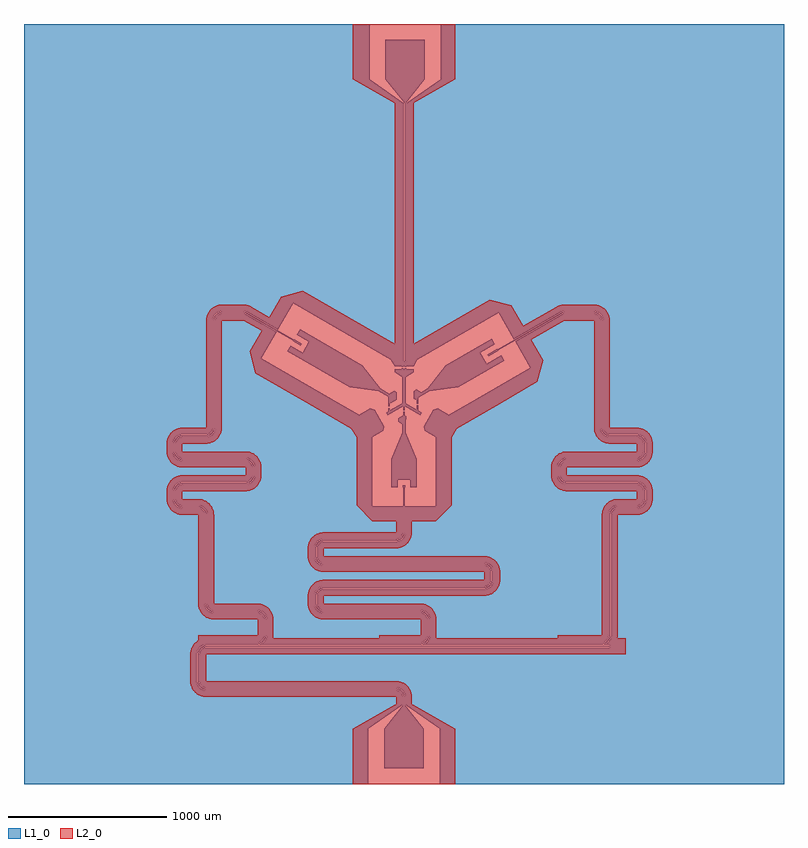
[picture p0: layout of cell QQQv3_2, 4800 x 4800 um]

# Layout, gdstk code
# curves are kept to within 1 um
import gdstk
lib = gdstk.Library(unit=1e-6, precision=1e-09)
def P(c, l, *ps):  # polygons
    for p in ps: c.add(gdstk.Polygon(p, *l))
L1_0 = (1, 0)
L2_0 = (2, 0)

qqqv3_2 = lib.new_cell('QQQv3_2')
P(qqqv3_2, L1_0, [(3.5,1900),(-117.5,2050),(-117.5,2300),(132.5,2300),(132.5,2050),(11.5,1900)],
  [(-125,-2300),(-125,-2050),(-4,-1900),(4,-1900),(125,-2050),(125,-2300)],
  [(1246,57.013),(1245.804,531.595),(1242.894,543.967),(1236.709,555.071),(1227.721,564.059),(1216.617,570.244),(1200,573.35),(1013.397,573.35),(997.665,570.576),(595.227,339.036),(596.727,336.438),(533.941,300.188),(526.941,312.312),(589.727,348.562),(591.227,345.964),(994.928,578.094),(1013.397,581.35),(1200,581.35),(1217.534,578.424),(1233.167,569.964),(1242.614,560.518),(1249.452,549.042),(1253.816,531.81),(1254,57.013)],
  [(977.66,-467.325),(974.986,-454.404),(974.806,-400),(977.732,-382.466),(983.599,-370.465),(992.232,-360.271),(1003.105,-352.508),(1015.549,-347.652),(1028.806,-346),(1475.439,-345.804),(1487.811,-342.894),(1498.916,-336.709),(1505.189,-330.99),(1512.372,-320.504),(1516.998,-304.244),(1516.411,-241.548),(1512.372,-229.496),(1507.903,-222.279),(1498.916,-213.291),(1491.698,-208.822),(1479.647,-204.783),(1471.194,-204),(1295.541,-203.816),(1286.744,-202.348),(1274.299,-197.492),(1263.427,-189.729),(1254.793,-179.535),(1247.652,-163.256),(1246,-150),(1246,57.013),(1254,57.013),(1254.196,-154.244),(1258.822,-170.504),(1266.006,-180.99),(1279.496,-191.178),(1295.756,-195.804),(1480.082,-196.736),(1492.886,-200.548),(1504.362,-207.386),(1513.808,-216.833),(1520.646,-228.308),(1524.458,-241.112),(1525.194,-250),(1525.194,-300),(1523.542,-313.256),(1520.646,-321.692),(1513.808,-333.167),(1504.362,-342.614),(1492.886,-349.452),(1484.451,-352.348),(1471.194,-354),(1020.353,-354.783),(1008.302,-358.822),(1001.084,-363.291),(992.097,-372.279),(985.912,-383.383),(983.002,-395.756),(982.806,-450),(983.66,-458.826),(986.193,-467.325)],
  [(-1242,-1200),(-1242,-700),(-1245.143,-681.167),(-1251.444,-668.277),(-1260.718,-657.328),(-1272.395,-648.991),(-1285.762,-643.775),(-1300,-642),(-1399.681,-642),(-1415.754,-638.803),(-1426.326,-632.466),(-1434.603,-623.334),(-1439.873,-612.192),(-1441.681,-600),(-200,-600),(-200,-647),(-8,-647),(-8.202,-815.117),(-11.197,-827.073),(-17.534,-837.645),(-30.201,-848.041),(-41.806,-852.193),(-50,-853),(-507.195,-853),(-526.028,-856.143),(-542.82,-865.23),(-552.965,-875.376),(-562.053,-892.167),(-564.997,-906.21),(-565.195,-961),(-563.42,-975.238),(-555.751,-992.723),(-546.478,-1003.672),(-538.918,-1009.556),(-521.433,-1017.225),(-507.195,-1019),(507.195,-1019),(523.268,-1022.197),(533.84,-1028.534),(544.236,-1041.201),(548.993,-1056.883),(549.195,-1111),(545.998,-1127.073),(539.662,-1137.645),(530.529,-1145.922),(523.268,-1149.803),(511.312,-1152.798),(-507.195,-1153),(-525.699,-1156.031),(-542.269,-1164.806),(-552.372,-1174.626),(-557.658,-1182.407),(-564.143,-1200)],
  [(-515.549,-1014.35),(-532.531,-1008.687),(-546.73,-997.784),(-556.583,-982.837),(-561.008,-965.491),(-561.195,-911),(-558.269,-893.466),(-554.687,-885.299),(-546.924,-874.427),(-536.73,-865.793),(-524.729,-859.926),(-507.195,-857),(-50,-857),(-41.548,-856.217),(-33.383,-853.894),(-25.784,-850.11),(-19.01,-844.994),(-13.291,-838.721),(-8.822,-831.504),(-4.783,-819.452),(-4,-811),(-4,-527),(-7,-527),(-7,-512.7),(7,-512.7),(7,-527),(4,-527),(4,-811),(3.264,-819.888),(-0.548,-832.692),(-7.386,-844.167),(-13.427,-850.729),(-28.308,-860.452),(-41.112,-864.264),(-50,-865),(-507.195,-865),(-519.784,-866.756),(-531.411,-871.89),(-541.19,-880.01),(-548.373,-890.496),(-552.412,-902.548),(-553.195,-911),(-552.412,-969.452),(-548.373,-981.504),(-543.904,-988.721),(-538.185,-994.994),(-531.411,-1000.11),(-523.812,-1003.894),(-515.648,-1006.217),(-507.195,-1007),(507.195,-1007),(521.283,-1008.87),(534.394,-1014.35)],
  [(-2400,-1200),(-2400,0),(-1208,0),(-1208,-150),(-1209.809,-162.192),(-1215.078,-173.334),(-1223.355,-182.466),(-1230.201,-187.041),(-1245.883,-191.798),(-1404.471,-192.198),(-1418.514,-195.143),(-1431.404,-201.444),(-1438.963,-207.328),(-1448.237,-218.277),(-1452.796,-226.702),(-1456.89,-240.454),(-1457.483,-304.79),(-1455.906,-314.238),(-1450.691,-327.605),(-1442.353,-339.282),(-1431.404,-348.556),(-1418.514,-354.857),(-1404.471,-357.802),(-992.125,-358.807),(-980.52,-362.959),(-973.674,-367.534),(-967.852,-373.355),(-961.516,-383.927),(-958.319,-400),(-958.319,-450),(-960.127,-462.192),(-967.852,-476.645),(-980.52,-487.041),(-992.125,-491.193),(-1404.471,-492.198),(-1418.514,-495.143),(-1431.404,-501.444),(-1442.353,-510.718),(-1452.796,-526.702),(-1457.483,-545.21),(-1456.89,-609.546),(-1450.691,-627.605),(-1442.353,-639.282),(-1435.305,-645.77),(-1422.979,-653.115),(-1404.471,-657.802),(-1291.806,-658.807),(-1280.201,-662.959),(-1273.355,-667.534),(-1265.078,-676.666),(-1259.809,-687.808),(-1258,-700),(-1258,-1200)],
  [(1296,-991.662),(1296,-700),(1296.736,-691.112),(1300.548,-678.308),(1307.386,-666.833),(1316.833,-657.386),(1328.308,-650.548),(1341.112,-646.736),(1475.439,-645.804),(1487.811,-642.894),(1498.916,-636.709),(1505.189,-630.99),(1512.372,-620.504),(1516.998,-604.244),(1516.998,-545.756),(1514.088,-533.383),(1510.304,-525.784),(1502.184,-516.006),(1491.698,-508.822),(1479.647,-504.783),(1471.194,-504),(1024.332,-503.814),(1011.216,-501.055),(995.545,-492.541),(983.502,-479.387),(977.66,-467.325),(986.193,-467.325),(995.169,-481.378),(1004.889,-489.294),(1016.386,-494.292),(1024.62,-495.809),(1475.654,-496.184),(1488.728,-498.926),(1500.73,-504.793),(1507.768,-510.271),(1516.401,-520.465),(1522.268,-532.466),(1525.01,-545.541),(1525.01,-604.459),(1523.542,-613.256),(1518.686,-625.701),(1513.808,-633.167),(1504.362,-642.614),(1492.886,-649.452),(1475.654,-653.816),(1341.548,-654.783),(1329.496,-658.822),(1322.279,-663.291),(1313.291,-672.279),(1308.822,-679.496),(1304.783,-691.548),(1304,-700),(1304,-991.662)],
  [(-547.729,-1200),(-543.115,-1189.233),(-532.71,-1177.638),(-522.504,-1171.889),(-507.195,-1169),(507.195,-1169),(516.742,-1168.209),(530.494,-1164.115),(546.478,-1153.672),(558.205,-1138.605),(564.404,-1120.546),(564.404,-1051.454),(558.205,-1033.395),(546.478,-1018.328),(530.494,-1007.885),(516.742,-1003.791),(-507.195,-1003),(-523.268,-999.803),(-536.894,-990.698),(-544.236,-980.799),(-548.993,-965.117),(-548.993,-906.883),(-545.998,-894.927),(-539.662,-884.355),(-530.529,-876.078),(-519.387,-870.809),(-507.195,-869),(-50,-869),(-35.762,-867.225),(-18.277,-859.556),(-10.718,-853.672),(-1.444,-842.723),(4.857,-829.833),(7.802,-815.79),(8,-647),(200,-647),(200,-600),(1513.194,-600),(1511.386,-612.192),(1506.116,-623.334),(1497.839,-632.466),(1487.267,-638.803),(1471.194,-642),(1350,-642),(1335.762,-643.775),(1322.395,-648.991),(1310.718,-657.328),(1301.444,-668.277),(1295.143,-681.167),(1292,-700),(1292,-1200)],
  [(-2400,-2400),(-2400,-1800),(-1279.394,-1800),(-1267.345,-1805.346),(-1250,-1808),(-50,-1808),(-33.927,-1811.197),(-23.355,-1817.534),(-12.959,-1830.201),(-8.807,-1841.806),(-8,-1900),(-225,-2050),(-225,-2400)],
  [(148.818,-1500),(158.491,-1484.42),(162.817,-1466.599),(162.802,-1356.21),(159.857,-1342.167),(153.556,-1329.277),(144.282,-1318.328),(128.298,-1307.885),(114.546,-1303.791),(105,-1303),(-515.389,-1302.193),(-526.994,-1298.041),(-533.84,-1293.466),(-542.117,-1284.334),(-547.387,-1273.192),(-549.195,-1261),(-549.195,-1211),(-547.729,-1200),(1292,-1200),(1291.814,-1465.952),(1289.051,-1477.459),(1283.189,-1487.739),(1274.691,-1495.976),(1267.889,-1500)],
  [(80.311,2.141),(80.311,31.368),(72.99,27.141),(60,34.641),(60,81.641),(77.321,91.641),(108.024,73.915),(150.885,98.66),(263.109,244.282),(553.227,411.782),(573.227,377.141),(481.862,324.391),(521.862,255.109),(613.227,307.859),(633.227,273.218),(343.109,105.718),(160.885,81.34),(90.311,40.594),(90.311,2.141)],
  [(-881.182,-1500),(-871.509,-1484.42),(-867.183,-1466.599),(-867.198,-1356.21),(-870.143,-1342.167),(-873.991,-1333.395),(-882.328,-1321.718),(-889.376,-1315.23),(-901.702,-1307.885),(-920.21,-1303.198),(-1200,-1303),(-1212.192,-1301.191),(-1219.799,-1298.041),(-1229.698,-1290.698),(-1237.041,-1280.799),(-1240.191,-1273.192),(-1242,-1261),(-1242,-1200),(-564.143,-1200),(-565.195,-1261),(-562.053,-1279.833),(-555.751,-1292.723),(-546.478,-1303.672),(-534.8,-1312.009),(-521.433,-1317.225),(-507.195,-1319),(109.117,-1319.202),(124.799,-1323.959),(134.698,-1331.302),(142.041,-1341.201),(146.798,-1356.883),(146.256,-1469.869),(144.051,-1477.459),(138.189,-1487.739),(129.691,-1495.976),(122.889,-1500)],
  [(-2400,-1800),(-2400,-1500),(-907.111,-1500),(-925,-1504),(-1250,-1504),(-1250,-1520),(-920.489,-1519.824),(-911.576,-1518.425),(-898.882,-1513.786),(-891.167,-1509.11),(-881.182,-1500),(122.889,-1500),(105,-1504),(-105,-1504),(-105,-1520),(109.511,-1519.824),(118.424,-1518.425),(131.118,-1513.786),(138.833,-1509.11),(148.818,-1500),(1267.889,-1500),(1250,-1504),(1020,-1504),(1020,-1520),(1254.511,-1519.824),(1263.424,-1518.425),(1276.118,-1513.786),(1283.833,-1509.11),(1293.818,-1500),(2400,-1500),(2400,-1800),(-20.606,-1800),(-32.655,-1794.654),(-50,-1792),(-1250,-1792),(-1262.192,-1790.191),(-1273.334,-1784.922),(-1282.466,-1776.645),(-1288.803,-1766.073),(-1291.798,-1754.117),(-1292,-1580),(-1288.803,-1563.927),(-1282.466,-1553.355),(-1269.799,-1542.959),(-1254.117,-1538.202),(1300,-1538),(1300,-1522),(-1254.79,-1522.198),(-1273.298,-1526.885),(-1289.282,-1537.328),(-1298.556,-1548.277),(-1303.115,-1556.702),(-1307.802,-1575.21),(-1307.26,-1759.235),(-1303.427,-1772.573),(-1296.536,-1784.618),(-1286.98,-1794.682),(-1279.394,-1800)],
  [(225,-2400),(225,-2050),(8,-1900),(8,-1850),(6.34,-1836.222),(1.454,-1823.233),(-3.464,-1815.382),(-13.02,-1805.318),(-20.606,-1800),(2400,-1800),(2400,-2400)],
  [(1293.818,-1500),(1303.491,-1484.42),(1307.817,-1466.599),(1308,-1200),(2400,-1200),(2400,-1500)],
  [(-1204,57.013),(-1203.816,531.81),(-1201.074,544.884),(-1195.207,556.885),(-1186.573,567.079),(-1175.701,574.842),(-1163.256,579.698),(-1150,581.35),(-1013.397,581.35),(-1004.02,580.53),(-994.928,578.094),(-694.284,405.464),(-692.784,408.062),(-645.153,380.562),(-652.153,368.438),(-699.784,395.938),(-698.284,398.536),(-997.665,570.576),(-1013.397,573.35),(-1150,573.35),(-1162.588,571.594),(-1174.216,566.46),(-1180.99,561.345),(-1189.11,551.566),(-1192.894,543.967),(-1195.804,531.595),(-1196,57.013)],
  [(-1441.681,-600),(-1441.681,-550),(-1439.873,-537.808),(-1436.722,-530.201),(-1429.38,-520.302),(-1419.48,-512.959),(-1411.873,-509.809),(-1399.681,-508),(-995.529,-507.802),(-981.486,-504.857),(-968.596,-498.556),(-957.647,-489.282),(-947.204,-473.298),(-943.11,-459.546),(-942.319,-450),(-942.319,-400),(-944.094,-385.762),(-949.309,-372.395),(-957.647,-360.718),(-968.596,-351.444),(-981.486,-345.143),(-1000.319,-342),(-1403.798,-341.798),(-1415.754,-338.803),(-1423.015,-334.922),(-1432.148,-326.645),(-1436.722,-319.799),(-1441.479,-304.117),(-1440.874,-241.806),(-1436.722,-230.201),(-1432.148,-223.355),(-1419.48,-212.959),(-1407.875,-208.807),(-1399.681,-208),(-1240.454,-207.209),(-1226.702,-203.115),(-1218.277,-198.556),(-1204.23,-185.624),(-1196.885,-173.298),(-1192.198,-154.79),(-1192,0),(-400,0),(-281.699,-68.301),(-212.417,-28.301),(-185.096,-35.622),(-123.397,-142.487),(-130.718,-169.808),(-200,-209.808),(-200,-600)],
  [(-103.253,-71.16),(-113.253,-53.84),(-99.56,-45.934),(-99.56,-25.519),(-89.56,-25.519),(-89.56,-40.16),(-10,5.774),(-10,170),(-60,200),(-60,220),(-15,220),(-15,225),(-5,225),(-5,220),(5,220),(5,225),(15,225),(15,220),(60,220),(60,200),(10,170),(10,5.774),(80.311,-34.821),(80.311,-7.859),(90.311,-7.859),(90.311,-40.594),(113.253,-53.84),(103.253,-71.16),(5,-14.434),(5,-40),(-5,-40),(-5,-14.434)],
  [(-80,-527),(-80,-350),(-10,-180),(-10,-126.509),(-37.239,-110.782),(-37.239,-90.782),(-5,-72.169),(-5,-50),(5,-50),(5,-72.169),(12.99,-76.782),(12.99,-96.782),(10,-98.509),(10,-180),(80,-350),(80,-527),(40,-527),(40,-479.7),(-40,-479.7),(-40,-527)],
  [(200,-600),(200,-209.808),(130.718,-169.808),(123.397,-142.487),(185.096,-35.622),(212.417,-28.301),(281.699,-68.301),(400,0),(1242,0),(1242.198,-154.79),(1246.885,-173.298),(1251.444,-181.723),(1260.718,-192.672),(1276.702,-203.115),(1295.21,-207.802),(1479.388,-208.807),(1490.993,-212.959),(1497.839,-217.534),(1506.116,-226.666),(1511.386,-237.808),(1513.194,-250),(1512.387,-308.194),(1508.235,-319.799),(1503.661,-326.645),(1494.528,-334.922),(1487.267,-338.803),(1471.194,-342),(1028.806,-342),(1014.568,-343.775),(1001.201,-348.991),(989.523,-357.328),(980.25,-368.277),(975.691,-376.702),(971.004,-395.21),(970.806,-450),(973.948,-468.833),(980.25,-481.723),(986.134,-489.282),(993.181,-495.77),(1005.507,-503.115),(1024.016,-507.802),(1471.194,-508),(1483.386,-509.809),(1490.993,-512.959),(1500.893,-520.302),(1508.235,-530.201),(1511.386,-537.808),(1513.194,-550),(1513.194,-600)],
  [(-1250,-1516),(-1250,-1508),(-925,-1508),(-908.383,-1504.894),(-897.279,-1498.709),(-888.291,-1489.721),(-883.822,-1482.504),(-879.783,-1470.452),(-879,-1361),(-882.106,-1344.383),(-888.291,-1333.279),(-900.784,-1321.89),(-916.548,-1315.783),(-1204.459,-1314.816),(-1221.692,-1310.452),(-1236.573,-1300.729),(-1242.614,-1294.167),(-1249.452,-1282.692),(-1253.816,-1265.459),(-1254,-991.662),(-1246,-991.662),(-1245.804,-1265.244),(-1241.178,-1281.504),(-1230.99,-1294.994),(-1216.617,-1303.894),(-1200,-1307),(-916.112,-1307.736),(-899.299,-1313.508),(-891.833,-1318.386),(-882.386,-1327.833),(-873.926,-1343.466),(-871,-1361),(-871,-1462),(-872.652,-1475.256),(-875.548,-1483.692),(-882.386,-1495.167),(-891.833,-1504.614),(-903.308,-1511.452),(-916.112,-1515.264),(-925,-1516)],
  [(1308,-1200),(1308,-700),(1309.809,-687.808),(1315.078,-676.666),(1323.355,-667.534),(1330.201,-662.959),(1341.806,-658.807),(1475.984,-657.802),(1494.493,-653.115),(1506.819,-645.77),(1513.866,-639.282),(1522.204,-627.605),(1528.403,-609.546),(1528.996,-545.21),(1524.309,-526.702),(1516.964,-514.376),(1506.819,-504.23),(1494.493,-496.885),(1475.984,-492.198),(1024.689,-491.798),(1009.007,-487.041),(996.339,-476.645),(988.614,-462.192),(986.806,-450),(986.806,-400),(990.003,-383.927),(996.339,-373.355),(1002.161,-367.534),(1009.007,-362.959),(1020.612,-358.807),(1475.984,-357.802),(1490.027,-354.857),(1502.917,-348.556),(1510.477,-342.672),(1519.75,-331.723),(1526.052,-318.833),(1528.996,-304.79),(1528.403,-240.454),(1526.052,-231.167),(1519.75,-218.277),(1510.477,-207.328),(1502.917,-201.444),(1490.027,-195.143),(1475.984,-192.198),(1295.883,-191.798),(1280.201,-187.041),(1267.534,-176.645),(1261.197,-166.073),(1258.202,-154.117),(1258,0),(2400,0),(2400,-1200)],
  [(400,0),(797.15,229.295),(701.15,395.572),(992.397,563.723),(1002.527,567.919),(1013.397,569.35),(1204.117,569.148),(1219.799,564.391),(1226.645,559.817),(1234.922,550.684),(1240.191,539.542),(1242,527.35),(1242,0)],
  [(-2400,0),(-2400,2400),(-217.5,2400),(-217.5,2050),(-0.5,1900),(-0.5,275),(3.75,250.6),(-6,250.6),(-6,248.6),(57.5,248.6),(57.5,250.6),(5.75,250.6),(3.5,275),(3.5,1900),(11.5,1900),(11.5,275),(9.25,254.1),(20,254.1),(20,256.1),(11.25,256.1),(15.5,275),(15.5,1900),(232.5,2050),(232.5,2400),(2400,2400),(2400,0),(1258,0),(1257.802,532.14),(1253.115,550.649),(1242.672,566.633),(1227.605,578.36),(1209.546,584.559),(1013.397,585.35),(996.302,582.773),(984.397,577.58),(693.15,409.428),(597.15,575.705),(83.484,279.139),(60,240),(15,240),(15,235),(5,235),(5,240),(-5,240),(-5,235),(-15,235),(-15,240),(-60,240),(-83.484,279.139),(-700.207,635.205),(-796.207,468.928),(-984.397,577.58),(-1000.491,583.896),(-1013.397,585.35),(-1154.79,585.152),(-1168.833,582.208),(-1177.605,578.36),(-1189.282,570.022),(-1195.77,562.975),(-1204.857,546.183),(-1208,527.35),(-1208,0)],
  [(-1192,0),(-1191.798,531.467),(-1187.041,547.149),(-1176.645,559.817),(-1162.192,567.542),(-1150,569.35),(-1013.397,569.35),(-999.033,566.817),(-804.207,455.072),(-900.207,288.795),(-400,0)],
  [(-2400,-1500),(-2400,-1200),(-1258,-1200),(-1258,-1261),(-1254.857,-1279.833),(-1248.556,-1292.723),(-1242.672,-1300.282),(-1231.723,-1309.556),(-1223.298,-1314.115),(-1209.546,-1318.209),(-1200,-1319),(-920.883,-1319.202),(-905.201,-1323.959),(-895.302,-1331.302),(-887.959,-1341.201),(-883.202,-1356.883),(-883.744,-1469.869),(-885.949,-1477.459),(-891.811,-1487.739),(-900.309,-1495.976),(-907.111,-1500)],
  [(-99.56,-15.519),(-99.56,45.934),(-160.885,81.34),(-343.109,105.718),(-736.284,332.718),(-716.284,367.359),(-640.074,323.359),(-600.074,392.641),(-676.284,436.641),(-656.284,471.282),(-263.109,244.282),(-150.885,98.66),(-93.024,65.254),(-62.321,82.981),(-45,72.981),(-45,25.981),(-82.239,4.481),(-89.56,8.707),(-89.56,-15.519)],
  [(-1254,-991.662),(-1254,-700),(-1257.106,-683.383),(-1263.291,-672.279),(-1272.279,-663.291),(-1279.496,-658.822),(-1291.548,-654.783),(-1404.14,-653.816),(-1421.373,-649.452),(-1432.849,-642.614),(-1442.295,-633.167),(-1447.173,-625.701),(-1452.029,-613.256),(-1453.497,-604.459),(-1453.497,-545.541),(-1452.029,-536.744),(-1447.173,-524.299),(-1439.41,-513.427),(-1429.216,-504.793),(-1417.215,-498.926),(-1404.14,-496.184),(-996.133,-495.809),(-987.9,-494.292),(-976.403,-489.294),(-966.682,-481.378),(-957.706,-467.325),(-949.174,-467.325),(-957.606,-483.04),(-967.059,-492.541),(-978.56,-499.422),(-995.845,-503.814),(-1403.925,-504.196),(-1416.298,-507.106),(-1423.897,-510.89),(-1430.671,-516.006),(-1438.791,-525.784),(-1442.575,-533.383),(-1445.485,-545.756),(-1445.485,-604.244),(-1440.859,-620.504),(-1436.39,-627.721),(-1427.402,-636.709),(-1416.298,-642.894),(-1403.925,-645.804),(-1300,-646),(-1286.744,-647.652),(-1278.308,-650.548),(-1266.833,-657.386),(-1257.386,-666.833),(-1250.548,-678.308),(-1246.736,-691.112),(-1246,-700),(-1246,-991.662)],
  [(-957.706,-467.325),(-955.174,-458.826),(-954.319,-450),(-954.319,-400),(-956.075,-387.412),(-959.141,-379.496),(-966.325,-369.01),(-976.103,-360.89),(-987.73,-355.756),(-1000.319,-354),(-1404.14,-353.816),(-1421.373,-349.452),(-1432.849,-342.614),(-1442.295,-333.167),(-1449.133,-321.692),(-1453.497,-304.459),(-1452.945,-241.112),(-1449.133,-228.308),(-1444.888,-220.465),(-1439.41,-213.427),(-1429.216,-204.793),(-1417.215,-198.926),(-1404.14,-196.184),(-1241.548,-195.217),(-1225.784,-189.11),(-1219.01,-183.994),(-1210.89,-174.216),(-1205.756,-162.588),(-1204,-150),(-1204,57.013),(-1196,57.013),(-1196,-150),(-1197.652,-163.256),(-1204.793,-179.535),(-1210.271,-186.573),(-1220.465,-195.207),(-1228.308,-199.452),(-1241.112,-203.264),(-1399.681,-204),(-1412.27,-205.756),(-1423.897,-210.89),(-1430.671,-216.006),(-1438.791,-225.784),(-1444.898,-241.548),(-1445.485,-304.244),(-1440.859,-320.504),(-1433.675,-330.99),(-1423.897,-339.11),(-1416.298,-342.894),(-1403.925,-345.804),(-1000.319,-346),(-982.785,-348.926),(-970.784,-354.793),(-960.59,-363.427),(-952.827,-374.299),(-947.971,-386.744),(-946.319,-400),(-946.499,-454.404),(-949.174,-467.325)],
  [(-105,-1516),(-105,-1508),(109.244,-1507.804),(125.504,-1503.178),(135.99,-1495.994),(146.178,-1482.504),(150.804,-1466.244),(150.804,-1356.756),(147.894,-1344.383),(144.11,-1336.784),(135.99,-1327.006),(125.504,-1319.822),(113.452,-1315.783),(105,-1315),(-511.67,-1314.814),(-528.959,-1310.42),(-540.463,-1303.536),(-547.032,-1297.456),(-556.736,-1282.488),(-561.034,-1265.175),(-553.005,-1265.175),(-548.396,-1281.457),(-538.211,-1294.971),(-527.719,-1302.168),(-511.444,-1306.803),(105,-1307),(118.256,-1308.652),(130.701,-1313.508),(141.573,-1321.271),(150.207,-1331.465),(156.074,-1343.466),(158.816,-1356.541),(158.816,-1466.459),(154.452,-1483.692),(147.614,-1495.167),(141.573,-1501.729),(126.692,-1511.452),(109.459,-1515.816)],
  [(-4,-1900),(-4.196,-1845.756),(-7.106,-1833.383),(-13.291,-1822.279),(-22.279,-1813.291),(-33.383,-1807.106),(-45.756,-1804.196),(-1250,-1804),(-1263.256,-1802.348),(-1279.535,-1795.207),(-1292.614,-1783.167),(-1301.074,-1767.534),(-1304,-1750),(-1303.264,-1571.112),(-1299.452,-1558.308),(-1289.729,-1543.427),(-1275.701,-1532.508),(-1263.256,-1527.652),(-1250,-1526),(1300,-1526),(1300,-1534),(-1250,-1534),(-1262.588,-1535.756),(-1274.216,-1540.89),(-1286.709,-1552.279),(-1292.894,-1563.383),(-1296,-1580),(-1295.217,-1758.452),(-1291.178,-1770.504),(-1283.994,-1780.99),(-1274.216,-1789.11),(-1262.588,-1794.244),(-1250,-1796),(-45.541,-1796.184),(-28.308,-1800.548),(-16.833,-1807.386),(-7.386,-1816.833),(-0.548,-1828.308),(3.816,-1845.541),(4,-1900)],
  [(1020,-1516),(1020,-1508),(1254.244,-1507.804),(1266.617,-1504.894),(1274.216,-1501.11),(1283.994,-1492.99),(1291.178,-1482.504),(1295.217,-1470.452),(1296,-1462),(1296,-991.662),(1304,-991.662),(1304,-1462),(1302.348,-1475.256),(1297.492,-1487.701),(1289.729,-1498.573),(1279.535,-1507.207),(1267.534,-1513.074),(1254.459,-1515.816)],
  [(-561.034,-1265.175),(-561.011,-1206.541),(-559.543,-1197.744),(-556.647,-1189.308),(-549.809,-1177.833),(-540.363,-1168.386),(-528.887,-1161.548),(-516.083,-1157.736),(-507.195,-1157),(507.195,-1157),(515.648,-1156.217),(523.812,-1153.894),(534.916,-1147.709),(541.19,-1141.99),(546.305,-1135.216),(550.089,-1127.617),(552.412,-1119.452),(553.195,-1111),(553.195,-1061),(552.412,-1052.548),(550.089,-1044.383),(543.904,-1033.279),(534.916,-1024.291),(523.812,-1018.106),(511.44,-1015.196),(-507.195,-1015),(-515.549,-1014.35),(534.394,-1014.35),(545.501,-1022.938),(551.506,-1030.137),(557.965,-1042.603),(560.382,-1051.661),(561.195,-1061),(561.011,-1115.459),(559.543,-1124.256),(556.647,-1132.692),(549.809,-1144.167),(540.363,-1153.614),(528.887,-1160.452),(516.083,-1164.264),(507.195,-1165),(-511.44,-1165.196),(-523.812,-1168.106),(-534.916,-1174.291),(-541.19,-1180.01),(-548.373,-1190.496),(-551.439,-1198.412),(-552.999,-1206.756),(-553.005,-1265.175)])
P(qqqv3_2, L2_0, [(1471.194,-600),(1471.194,-550),(1016.272,-549.211),(991.993,-542.978),(970.027,-530.902),(951.754,-513.742),(938.323,-492.578),(931.947,-474.869),(929.003,-456.279),(929.003,-393.721),(931.947,-375.131),(941.175,-351.825),(955.909,-331.545),(970.027,-319.098),(991.993,-307.022),(1010.068,-301.771),(1028.806,-300),(1471.194,-300),(1471.194,-250),(1287.467,-249.211),(1269.098,-245.106),(1257.422,-240.483),(1241.221,-230.902),(1227.103,-218.455),(1219.098,-208.779),(1209.517,-192.578),(1204.894,-180.902),(1200.789,-162.533),(1200,0),(1300,0),(1300,-150),(1483.728,-150.789),(1502.096,-154.894),(1513.772,-159.517),(1529.973,-169.098),(1539.649,-177.103),(1552.096,-191.221),(1561.677,-207.422),(1568.053,-225.131),(1570.406,-237.467),(1570.997,-306.279),(1568.053,-324.869),(1564.172,-336.812),(1552.096,-358.779),(1544.091,-368.455),(1529.973,-380.902),(1508.007,-392.978),(1483.728,-399.211),(1028.806,-400),(1028.806,-450),(1471.194,-450),(1489.932,-451.771),(1502.096,-454.894),(1519.37,-462.369),(1539.649,-477.103),(1552.096,-491.221),(1561.677,-507.422),(1568.053,-525.131),(1570.406,-537.467),(1571.194,-600)],
  [(1250,-1200),(1250,-700),(1253.142,-675.131),(1262.369,-651.825),(1277.103,-631.545),(1291.221,-619.098),(1307.422,-609.517),(1331.262,-601.771),(1350,-600),(1571.194,-600),(1568.053,-624.869),(1561.677,-642.578),(1555.627,-653.583),(1539.649,-672.897),(1529.973,-680.902),(1513.772,-690.483),(1496.063,-696.858),(1477.473,-699.803),(1350,-700),(1350,-1200)],
  [(-1250,0),(-1249.211,539.884),(-1242.978,564.163),(-1237.631,575.526),(-1227.051,591.093),(-1208.779,608.252),(-1192.578,617.833),(-1180.902,622.456),(-1162.533,626.562),(-1150,627.35),(-1013.397,627.35),(-990.336,624.655),(-979.195,621.32),(-963.397,613.953),(-849.686,548.301),(-774.686,678.205),(-638.083,714.808),(-60,381.051),(-60,1900),(-58,1900),(-325,2050),(-325,2400),(325,2400),(325,2050),(58,1900),(60,1900),(60,381.051),(541.954,659.308),(678.557,622.705),(753.557,492.801),(963.397,613.953),(984.717,623.149),(1001.788,626.674),(1013.397,627.35),(1200,627.35),(1212.533,626.562),(1230.902,622.456),(1242.578,617.833),(1258.779,608.252),(1277.051,591.093),(1287.631,575.526),(1292.978,564.163),(1299.211,539.884),(1300,0),(1200,0),(1200,527.35),(1013.397,527.35),(803.557,406.199),(878.557,276.295),(841.954,139.692),(600,0),(-600,0),(-938.083,195.192),(-974.686,331.795),(-899.686,461.699),(-1013.397,527.35),(-1150,527.35),(-1150,0)],
  [(-606.588,-1200),(-604.395,-1187.499),(-598.186,-1169.519),(-588.685,-1153.039),(-576.235,-1138.657),(-561.287,-1126.892),(-544.382,-1118.171),(-526.131,-1112.809),(-513.541,-1111.202),(507.195,-1111),(507.195,-1061),(-507.195,-1061),(-525.933,-1059.229),(-544.008,-1053.978),(-565.974,-1041.902),(-580.092,-1029.455),(-588.097,-1019.779),(-597.678,-1003.578),(-605.424,-979.738),(-607.195,-961),(-606.407,-898.467),(-600.173,-874.188),(-588.097,-852.221),(-575.65,-838.103),(-555.371,-823.369),(-532.064,-814.142),(-507.195,-811),(-50,-811),(-50,-739),(-200,-739),(-300,-639),(-300,-209.808),(-331.699,-154.904),(-600,0),(600,0),(331.699,-154.904),(300,-209.808),(300,-639),(200,-739),(50,-739),(49.803,-817.279),(46.858,-835.869),(40.483,-853.578),(30.902,-869.779),(13.742,-888.051),(-7.422,-901.483),(-25.131,-907.858),(-50,-911),(-507.195,-911),(-507.195,-961),(507.195,-961),(532.064,-964.142),(555.371,-973.369),(565.974,-980.098),(580.092,-992.545),(588.097,-1002.221),(597.678,-1018.422),(605.424,-1042.262),(607.195,-1061),(607.195,-1111),(605.527,-1129.187),(600.58,-1146.768),(595.536,-1157.86),(589.181,-1168.257),(577.4,-1182.213),(568.218,-1190.223),(552.791,-1200)],
  [(-1300,-1200),(-1300,-700),(-1405.96,-699.803),(-1424.55,-696.858),(-1442.259,-690.483),(-1458.46,-680.902),(-1468.136,-672.897),(-1484.114,-653.583),(-1494.787,-630.902),(-1498.893,-612.533),(-1499.681,-600),(-1300,-600),(-1275.131,-603.142),(-1251.825,-612.369),(-1231.545,-627.103),(-1215.567,-646.417),(-1204.894,-669.098),(-1201.771,-681.262),(-1200,-700),(-1200,-1200)],
  [(-1310,-1500),(-1300,-1493.397),(-1300,-1462),(-925,-1462),(-925,-1361),(-1206.279,-1360.803),(-1230.902,-1356.106),(-1242.578,-1351.483),(-1258.779,-1341.902),(-1268.455,-1333.897),(-1280.902,-1319.779),(-1290.483,-1303.578),(-1295.106,-1291.902),(-1299.803,-1267.279),(-1300,-1200),(-1200,-1200),(-1200,-1261),(-918.721,-1261.197),(-894.098,-1265.894),(-871.417,-1276.567),(-856.545,-1288.103),(-844.098,-1302.221),(-834.517,-1318.422),(-826.771,-1342.262),(-825,-1361),(-825,-1462),(-826.633,-1480),(-155,-1480),(-155,-1462),(105,-1462),(105,-1361),(-507.195,-1361),(-525.933,-1359.229),(-544.008,-1353.978),(-565.974,-1341.902),(-580.092,-1329.455),(-591.628,-1314.583),(-600.173,-1297.812),(-604.054,-1285.869),(-606.998,-1267.279),(-606.588,-1200),(552.791,-1200),(530.647,-1208.211),(507.195,-1211),(-507.195,-1211),(-507.195,-1261),(105,-1261),(123.738,-1262.771),(141.812,-1268.022),(163.779,-1280.098),(177.897,-1292.545),(192.631,-1312.825),(201.858,-1336.131),(205,-1361),(205,-1462),(203.367,-1480),(970,-1480),(970,-1462),(1250,-1462),(1250,-1200),(1350,-1200),(1350,-1462),(1348.367,-1480),(1400,-1480),(1400,-1500)],
  [(-1499.681,-600),(-1498.893,-537.467),(-1494.787,-519.098),(-1490.164,-507.422),(-1480.583,-491.221),(-1468.136,-477.103),(-1453.264,-465.567),(-1430.583,-454.894),(-1418.419,-451.771),(-1399.681,-450),(-1000.319,-450),(-1000.319,-400),(-1412.214,-399.211),(-1436.494,-392.978),(-1453.264,-384.433),(-1463.423,-377.051),(-1480.583,-358.779),(-1490.164,-342.578),(-1494.787,-330.902),(-1498.893,-312.533),(-1499.681,-300),(-1499.681,-250),(-1497.91,-231.262),(-1494.787,-219.098),(-1487.312,-201.825),(-1480.583,-191.221),(-1468.136,-177.103),(-1458.46,-169.098),(-1442.259,-159.517),(-1430.583,-154.894),(-1412.214,-150.789),(-1250,-150),(-1250,0),(-1150,0),(-1150.789,-162.533),(-1154.894,-180.902),(-1159.517,-192.578),(-1172.949,-213.742),(-1181.545,-222.897),(-1196.417,-234.433),(-1213.188,-242.978),(-1231.262,-248.229),(-1250,-250),(-1399.681,-250),(-1399.681,-300),(-1000.319,-300),(-981.581,-301.771),(-963.506,-307.022),(-941.54,-319.098),(-927.422,-331.545),(-912.688,-351.825),(-903.461,-375.131),(-900.516,-393.721),(-900.516,-456.279),(-905.213,-480.902),(-912.688,-498.175),(-927.422,-518.455),(-941.54,-530.902),(-963.506,-542.978),(-981.581,-548.229),(-1000.319,-550),(-1399.681,-550),(-1399.681,-600)],
  [(-1336.603,-1800),(-1345.799,-1778.68),(-1349.831,-1755.814),(-1349.809,-1573.822),(-1345.261,-1549.58),(-1338.018,-1532.536),(-1327.756,-1517.119),(-1310,-1500),(1400,-1500),(1400,-1580),(-1250,-1580),(-1250,-1750),(-43.844,-1750.19),(-19.685,-1754.706),(2.643,-1764.978),(21.791,-1780.387),(36.603,-1800)],
  [(-325,-2400),(-325,-2050),(-58,-1900),(-50,-1900),(-50,-1850),(-1256.156,-1849.81),(-1280.315,-1845.294),(-1302.643,-1835.022),(-1321.791,-1819.613),(-1336.603,-1800),(36.603,-1800),(45.799,-1821.32),(49.324,-1838.391),(50,-1900),(58,-1900),(325,-2050),(325,-2400)])

lib.write_gds('QQQv3_2.gds')
